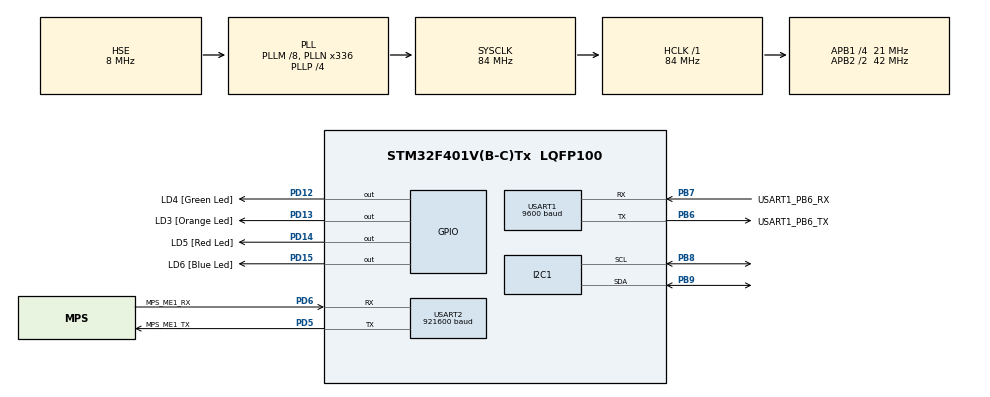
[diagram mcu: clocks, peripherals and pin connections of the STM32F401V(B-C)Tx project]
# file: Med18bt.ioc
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FREERTOS.Tasks01=bltTask,0,128,StartDefaultTask,Default,NULL,Dynamic,NULL,NULL
I2C1.I2C_Mode=I2C_Standard
Mcu.Family=STM32F4
Mcu.Name=STM32F401V(B-C)Tx
Mcu.Package=LQFP100
NVIC.PriorityGroup=NVIC_PRIORITYGROUP_4
NVIC.RCC_IRQn=true\:5\:0\:false\:false\:true\:true\:true
NVIC.TIM1_UP_TIM10_IRQn=true\:0\:0\:false\:false\:true\:false\:false
NVIC.TimeBase=TIM1_UP_TIM10_IRQn
NVIC.TimeBaseIP=TIM1
NVIC.USART1_IRQn=true\:5\:0\:false\:false\:true\:true\:true
NVIC.USART2_IRQn=true\:5\:0\:false\:false\:true\:true\:true
PB6.GPIO_Label=USART1_PB6_TX
PB6.GPIO_Speed=GPIO_SPEED_FREQ_VERY_HIGH
PB6.Mode=Asynchronous
PB6.Signal=USART1_TX
PB7.GPIO_Label=USART1_PB6_RX
PB7.GPIO_Speed=GPIO_SPEED_FREQ_VERY_HIGH
PB7.Mode=Asynchronous
PB7.Signal=USART1_RX
PB8.GPIO_PuPdOD=GPIO_PULLUP
PB8.Mode=I2C
PB8.Signal=I2C1_SCL
PB9.GPIO_PuPdOD=GPIO_PULLUP
PB9.Mode=I2C
PB9.Signal=I2C1_SDA
PD12.GPIO_Label=LD4 [Green Led]
PD12.GPIO_PuPd=GPIO_NOPULL
PD12.GPIO_Speed=GPIO_SPEED_FREQ_LOW
PD12.Signal=GPIO_Output
PD13.GPIO_Label=LD3 [Orange Led]
PD13.GPIO_PuPd=GPIO_NOPULL
PD13.GPIO_Speed=GPIO_SPEED_FREQ_LOW
PD13.Signal=GPIO_Output
PD14.GPIO_Label=LD5 [Red Led]
PD14.GPIO_PuPd=GPIO_NOPULL
PD14.GPIO_Speed=GPIO_SPEED_FREQ_LOW
PD14.Signal=GPIO_Output
PD15.GPIO_Label=LD6 [Blue Led]
PD15.GPIO_PuPd=GPIO_NOPULL
PD15.GPIO_Speed=GPIO_SPEED_FREQ_LOW
PD15.Signal=GPIO_Output
PD5.GPIO_Label=MPS_ME1_TX
PD5.GPIO_Speed=GPIO_SPEED_FREQ_VERY_HIGH
PD5.Mode=Asynchronous
PD5.Signal=USART2_TX
PD6.GPIO_Label=MPS_ME1_RX
PD6.Mode=Asynchronous
PD6.Signal=USART2_RX
PH0\ -\ OSC_IN.Mode=HSE-External-Oscillator
PH0\ -\ OSC_IN.Signal=RCC_OSC_IN
PH1\ -\ OSC_OUT.Mode=HSE-External-Oscillator
PH1\ -\ OSC_OUT.Signal=RCC_OSC_OUT
ProjectManager.HeapSize=0x400
ProjectManager.StackSize=0x800
ProjectManager.TargetToolchain=MDK-ARM V5
RCC.48MHZClocksFreq_Value=48000000
RCC.AHBFreq_Value=84000000
RCC.APB1CLKDivider=RCC_HCLK_DIV4
RCC.APB1Freq_Value=21000000
RCC.APB1TimFreq_Value=42000000
RCC.APB2CLKDivider=RCC_HCLK_DIV2
RCC.APB2Freq_Value=42000000
RCC.APB2TimFreq_Value=84000000
RCC.CortexFreq_Value=84000000
RCC.HCLKFreq_Value=84000000
RCC.HSE_VALUE=8000000
RCC.HSI_VALUE=16000000
RCC.LSE_VALUE=32768
RCC.PLLM=8
RCC.PLLN=336
RCC.PLLP=RCC_PLLP_DIV4
RCC.PLLQ=7
RCC.PLLSourceVirtual=RCC_PLLSOURCE_HSE
RCC.SYSCLKFreq_VALUE=84000000
RCC.SYSCLKSource=RCC_SYSCLKSOURCE_PLLCLK
RCC.VCOOutputFreq_Value=336000000
USART1.BaudRate=9600
USART1.VirtualMode=VM_ASYNC
USART2.BaudRate=921600
USART2.VirtualMode=VM_ASYNC
VP_FREERTOS_VS_ENABLE.Mode=Enabled
VP_SYS_VS_tim1.Mode=TIM1
board=STM32F401C-DISCO

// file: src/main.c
/**
  ******************************************************************************
  * @file           : main.c
  * @brief          : Main program body
  ******************************************************************************
  * This notice applies to any and all portions of this file
  * that are not between comment pairs USER CODE BEGIN and
  * USER CODE END. Other portions of this file, whether
  * inserted by the user or by software development tools
  * are owned by their respective copyright owners.
  *
  * Copyright (c) 2018 STMicroelectronics International N.V.
  * All rights reserved.
  *
  * Redistribution and use in source and binary forms, with or without
  * modification, are permitted, provided that the following conditions are met:
  *
  * 1. Redistribution of source code must retain the above copyright notice,
  *    this list of conditions and the following disclaimer.
  * 2. Redistributions in binary form must reproduce the above copyright notice,
  *    this list of conditions and the following disclaimer in the documentation
  *    and/or other materials provided with the distribution.
  * 3. Neither the name of STMicroelectronics nor the names of other
  *    contributors to this software may be used to endorse or promote products
  *    derived from this software without specific written permission.
  * 4. This software, including modifications and/or derivative works of this
  *    software, must execute solely and exclusively on microcontroller or
  *    microprocessor devices manufactured by or for STMicroelectronics.
  * 5. Redistribution and use of this software other than as permitted under
  *    this license is void and will automatically terminate your rights under
  *    this license.
  *
  * THIS SOFTWARE IS PROVIDED BY STMICROELECTRONICS AND CONTRIBUTORS "AS IS"
  * AND ANY EXPRESS, IMPLIED OR STATUTORY WARRANTIES, INCLUDING, BUT NOT
  * LIMITED TO, THE IMPLIED WARRANTIES OF MERCHANTABILITY, FITNESS FOR A
  * PARTICULAR PURPOSE AND NON-INFRINGEMENT OF THIRD PARTY INTELLECTUAL PROPERTY
  * RIGHTS ARE DISCLAIMED TO THE FULLEST EXTENT PERMITTED BY LAW. IN NO EVENT
  * SHALL STMICROELECTRONICS OR CONTRIBUTORS BE LIABLE FOR ANY DIRECT, INDIRECT,
  * INCIDENTAL, SPECIAL, EXEMPLARY, OR CONSEQUENTIAL DAMAGES (INCLUDING, BUT NOT
  * LIMITED TO, PROCUREMENT OF SUBSTITUTE GOODS OR SERVICES; LOSS OF USE, DATA,
  * OR PROFITS; OR BUSINESS INTERRUPTION) HOWEVER CAUSED AND ON ANY THEORY OF
  * LIABILITY, WHETHER IN CONTRACT, STRICT LIABILITY, OR TORT (INCLUDING
  * NEGLIGENCE OR OTHERWISE) ARISING IN ANY WAY OUT OF THE USE OF THIS SOFTWARE,
  * EVEN IF ADVISED OF THE POSSIBILITY OF SUCH DAMAGE.
  *
  ******************************************************************************
  */
#include "main.h"
#include "stm32f4xx_hal.h"
#include "cmsis_os.h"

/* USER CODE BEGIN Includes */
#include "string.h"
#include "discovery.h"
#include "mpu.h"
//#include "lpms-me1.h"
#include "ahrs.h"
/* USER CODE END Includes */

I2C_HandleTypeDef hi2c1;

UART_HandleTypeDef huart1;
UART_HandleTypeDef huart2;

osThreadId bltTaskHandle;

/* USER CODE BEGIN PV */
/* Private variables ---------------------------------------------------------*/
#define UART_PACKET_OK 0
#define UART_PACKET_TOO_LONG 1
#define UART_PACKET_CORRUPT 2
#define UART_BUSY_FLAG 1

volatile uint8_t mUartTxBusyFlag = 0;

#define UART_TX_MAXBUF_SZ 64
#define UART_RX_MAXBUF_SZ 64

char mUartRxString[UART_RX_MAXBUF_SZ];

uint8_t mUartRxBuffer = '\000';
uint8_t mUartNewMessage = 0;

char mUartTxbuffer[UART_TX_MAXBUF_SZ+1];
int mUartTxBufSz;

/* USER CODE END PV */

void SystemClock_Config(void);
static void MX_GPIO_Init(void);
static void MX_USART1_UART_Init(void);
static void MX_USART2_UART_Init(void);
static void MX_I2C1_Init(void);
void StartDefaultTask(void const * argument);

/* USER CODE BEGIN PFP */
/* Private function prototypes -----------------------------------------------*/
/* USER CODE END PFP */

int main(void)
{

  /* MCU Configuration----------------------------------------------------------*/

  /* Reset of all peripherals, Initializes the Flash interface and the Systick. */
  HAL_Init();

  /* Configure the system clock */
  SystemClock_Config();

  /* Initialize all configured peripherals */
  MX_GPIO_Init();
  MX_USART1_UART_Init();
  MX_USART2_UART_Init();
  MX_I2C1_Init();
  /* USER CODE BEGIN 2 */

	printf("DEBUG: Application started\r\n");

//	LPMS_ME1_Init( &hi2c1 );

	BSP_LED_Init(LED3);
	BSP_LED_Init(LED4);
	BSP_LED_Init(LED5);
	BSP_LED_Init(LED6);
  /* USER CODE END 2 */

  /* Create the thread(s) */
  /* definition and creation of bltTask */
  osThreadDef(bltTask, StartDefaultTask, osPriorityNormal, 0, 128);
  bltTaskHandle = osThreadCreate(osThread(bltTask), NULL);

  /* Start scheduler */
  osKernelStart();

  /* We should never get here as control is now taken by the scheduler */

  /* Infinite loop */
  while (1)
  {

  }

}

void SystemClock_Config(void)
{

  RCC_OscInitTypeDef RCC_OscInitStruct;
  RCC_ClkInitTypeDef RCC_ClkInitStruct;

    /**Configure the main internal regulator output voltage
    */
  __HAL_RCC_PWR_CLK_ENABLE();

  __HAL_PWR_VOLTAGESCALING_CONFIG(PWR_REGULATOR_VOLTAGE_SCALE2);

    /**Initializes the CPU, AHB and APB busses clocks
    */
  RCC_OscInitStruct.OscillatorType = RCC_OSCILLATORTYPE_HSE;
  RCC_OscInitStruct.HSEState = RCC_HSE_ON;
  RCC_OscInitStruct.PLL.PLLState = RCC_PLL_ON;
  RCC_OscInitStruct.PLL.PLLSource = RCC_PLLSOURCE_HSE;
  RCC_OscInitStruct.PLL.PLLM = 8;
  RCC_OscInitStruct.PLL.PLLN = 336;
  RCC_OscInitStruct.PLL.PLLP = RCC_PLLP_DIV4;
  RCC_OscInitStruct.PLL.PLLQ = 7;
  if (HAL_RCC_OscConfig(&RCC_OscInitStruct) != HAL_OK)
  {
    _Error_Handler(__FILE__, __LINE__);
  }

    /**Initializes the CPU, AHB and APB busses clocks
    */
  RCC_ClkInitStruct.ClockType = RCC_CLOCKTYPE_HCLK|RCC_CLOCKTYPE_SYSCLK
                              |RCC_CLOCKTYPE_PCLK1|RCC_CLOCKTYPE_PCLK2;
  RCC_ClkInitStruct.SYSCLKSource = RCC_SYSCLKSOURCE_PLLCLK;
  RCC_ClkInitStruct.AHBCLKDivider = RCC_SYSCLK_DIV1;
  RCC_ClkInitStruct.APB1CLKDivider = RCC_HCLK_DIV4;
  RCC_ClkInitStruct.APB2CLKDivider = RCC_HCLK_DIV2;

  if (HAL_RCC_ClockConfig(&RCC_ClkInitStruct, FLASH_LATENCY_2) != HAL_OK)
  {
    _Error_Handler(__FILE__, __LINE__);
  }

    /**Configure the Systick interrupt time
    */
  HAL_SYSTICK_Config(HAL_RCC_GetHCLKFreq()/1000);

    /**Configure the Systick
    */
  HAL_SYSTICK_CLKSourceConfig(SYSTICK_CLKSOURCE_HCLK);

  /* SysTick_IRQn interrupt configuration */
  HAL_NVIC_SetPriority(SysTick_IRQn, 15, 0);
}

/* I2C1 init function */
static void MX_I2C1_Init(void)
{

  hi2c1.Instance = I2C1;
  hi2c1.Init.ClockSpeed = 100000;
  hi2c1.Init.DutyCycle = I2C_DUTYCYCLE_2;
  hi2c1.Init.OwnAddress1 = 0;
  hi2c1.Init.AddressingMode = I2C_ADDRESSINGMODE_7BIT;
  hi2c1.Init.DualAddressMode = I2C_DUALADDRESS_DISABLE;
  hi2c1.Init.OwnAddress2 = 0;
  hi2c1.Init.GeneralCallMode = I2C_GENERALCALL_DISABLE;
  hi2c1.Init.NoStretchMode = I2C_NOSTRETCH_DISABLE;
  if (HAL_I2C_Init(&hi2c1) != HAL_OK)
  {
    _Error_Handler(__FILE__, __LINE__);
  }

}

/* USART1 init function */
static void MX_USART1_UART_Init(void)
{

  huart1.Instance = USART1;
  huart1.Init.BaudRate = 9600;
  huart1.Init.WordLength = UART_WORDLENGTH_8B;
  huart1.Init.StopBits = UART_STOPBITS_1;
  huart1.Init.Parity = UART_PARITY_NONE;
  huart1.Init.Mode = UART_MODE_TX_RX;
  huart1.Init.HwFlowCtl = UART_HWCONTROL_NONE;
  huart1.Init.OverSampling = UART_OVERSAMPLING_16;
  if (HAL_UART_Init(&huart1) != HAL_OK)
  {
    _Error_Handler(__FILE__, __LINE__);
  }

}

/* USART2 init function */
static void MX_USART2_UART_Init(void)
{

  huart2.Instance = USART2;
  huart2.Init.BaudRate = 921600;
  huart2.Init.WordLength = UART_WORDLENGTH_8B;
  huart2.Init.StopBits = UART_STOPBITS_1;
  huart2.Init.Parity = UART_PARITY_NONE;
  huart2.Init.Mode = UART_MODE_TX_RX;
  huart2.Init.HwFlowCtl = UART_HWCONTROL_NONE;
  huart2.Init.OverSampling = UART_OVERSAMPLING_16;
  if (HAL_UART_Init(&huart2) != HAL_OK)
  {
    _Error_Handler(__FILE__, __LINE__);
  }

}

/** Configure pins as
        * Analog
        * Input
        * Output
        * EVENT_OUT
        * EXTI
*/
static void MX_GPIO_Init(void)
{

  GPIO_InitTypeDef GPIO_InitStruct;

  /* GPIO Ports Clock Enable */
  __HAL_RCC_GPIOH_CLK_ENABLE();
  __HAL_RCC_GPIOD_CLK_ENABLE();
  __HAL_RCC_GPIOB_CLK_ENABLE();

  /*Configure GPIO pin Output Level */
  HAL_GPIO_WritePin(GPIOD, LD4_Pin|LD3_Pin|LD5_Pin|LD6_Pin, GPIO_PIN_RESET);

  /*Configure GPIO pins : LD4_Pin LD3_Pin LD5_Pin LD6_Pin */
  GPIO_InitStruct.Pin = LD4_Pin|LD3_Pin|LD5_Pin|LD6_Pin;
  GPIO_InitStruct.Mode = GPIO_MODE_OUTPUT_PP;
  GPIO_InitStruct.Pull = GPIO_NOPULL;
  GPIO_InitStruct.Speed = GPIO_SPEED_FREQ_LOW;
  HAL_GPIO_Init(GPIOD, &GPIO_InitStruct);

}

/* USER CODE BEGIN 4 */

/*** ================================================================================================ ***/
/*** ==== BLUETOOTH ================================================================================= ***/
/*** ================================================================================================ ***/

HAL_StatusTypeDef UART_WaitIfBusy() {
	for (int i = 0; mUartTxBusyFlag && i < 100; i++)
		HAL_Delay(1);

	if (mUartTxBusyFlag)
		return HAL_ERROR;

	mUartTxBusyFlag  = 1;

	return HAL_OK;
}

void UART_Send (const char message[])
{
	if (UART_WaitIfBusy() != HAL_OK)
		return;

	mUartTxBufSz = strlen(message);
	if (mUartTxBufSz > UART_TX_MAXBUF_SZ)
		mUartTxBufSz = UART_TX_MAXBUF_SZ-1;

	strncpy(mUartTxbuffer, message, mUartTxBufSz);

	if (strlen(message) > UART_TX_MAXBUF_SZ) {
		mUartTxbuffer[UART_TX_MAXBUF_SZ-2] = '\r';
		mUartTxbuffer[UART_TX_MAXBUF_SZ-1] = '\n';
		mUartTxbuffer[UART_TX_MAXBUF_SZ] = '\0';
	}

	HAL_UART_Transmit_IT(&huart1, (uint8_t*)mUartTxbuffer, mUartTxBufSz);
}

void UART_SendChar( const int ch ) {
	if (UART_WaitIfBusy() != HAL_OK)
		return;

	mUartTxBufSz = 1;
	mUartTxbuffer[0] = (char) ch;

	HAL_UART_Transmit_IT(&huart1, (uint8_t*)mUartTxbuffer, mUartTxBufSz);
}

void UART_CommandProcessor (void)
{
	printf("DEBUG: CMD received: '%s'\r\n", mUartRxString);
}

void HAL_UART_ErrorCallback(UART_HandleTypeDef *huart) {
//	for(int i = 0; i < 10; i++) {
//		BSP_LED_Toggle(LED3);
//		BSP_LED_Toggle(LED4);
//		BSP_LED_Toggle(LED5);
//		BSP_LED_Toggle(LED6);
//		HAL_Delay(100);
//	}
}

void HAL_UART_TxCpltCallback(UART_HandleTypeDef *huart1)
{
	mUartTxBusyFlag  = 0;
	// BSP_LED_Toggle(LED4);
}

void HAL_UART_RxCpltCallback(UART_HandleTypeDef *huart)
{
	static short int tUartRxIndex = 0;
	static uint8_t tUartErrorFlag = UART_PACKET_OK;

	// if(UartHandle->Instance==USART1){
//	BSP_LED_Toggle(LED4);
//	BSP_LED_Toggle(LED6);

	if (mUartRxBuffer == '\n') // If Enter
	{
		if (tUartRxIndex && tUartErrorFlag == UART_PACKET_OK)
		{
			mUartRxString[tUartRxIndex] = '\000';
			tUartRxIndex = 0;
			mUartNewMessage  = 1;

		} else {
			// UART_Send("ERROR: UART1 packet too long\r\n");
			tUartErrorFlag = UART_PACKET_OK; // reset error state
		}

	} else {

		if (mUartRxBuffer != '\r' && tUartErrorFlag == UART_PACKET_OK) // Ignore return
		{
			mUartRxString[tUartRxIndex] = mUartRxBuffer; // Add that character to the string
			tUartRxIndex++;

			if (tUartRxIndex >= UART_RX_MAXBUF_SZ) // User typing too much, we can't have commands that big
			{
				tUartErrorFlag = UART_PACKET_TOO_LONG;
				tUartRxIndex = 0;
				mUartRxString[tUartRxIndex] = '\000';
			}
		}
	}

	HAL_UART_Receive_IT(&huart1, &mUartRxBuffer, 1);
}

/*** ================================================================================================ ***/
/*** ==== I2C ======================================================================================= ***/
/*** ================================================================================================ ***/

/********************************************************************************************************/

/* USER CODE END 4 */

/* StartDefaultTask function */
void StartDefaultTask(void const * argument)
{

  /* USER CODE BEGIN 5 */
	float accel_data[3];
	float gyro_data[3];
	float magn_data[3];
	float temp_data;
	AHRS_t m_AHRS;

	uint8_t mpu_init_required = 1;
	uint32_t m_started_ts = 0, m_reporter_ts = 0, m_data_counter = 0;

	AHRS_Init(&m_AHRS, 40, 0.5, 1);

	HAL_UART_Receive_IT(&huart1, &mUartRxBuffer, 1);

  /* Infinite loop */
  for(;;)
  {
		BSP_LED_Toggle(LED3);

		if (mpu_init_required) {

			// hard_reset_required
			if (MPU_Init( &hi2c1, (mpu_init_required > 1 ? 1 : 0) ) != HAL_OK) {
				printf("ERROR: can't init MPU\r\n");
				HAL_Delay(500);

				mpu_init_required = 2; // hard reset required
				continue;
			}

			mpu_init_required = 0;
			m_started_ts = HAL_GetTick();
			m_reporter_ts = 0;
			m_data_counter = 0;
		}

		if(mUartNewMessage)
		{
//			UART_CommandProcessor();
//			mUartNewMessage  = 0;
		}

/*		// reset FIFO
		if (MPU_ResetFifo( &hi2c1 ) != HAL_OK) {
			// MPU reset required
			mpu_init_required = 1;
			continue;
		}
*/

/*
		if (MPU_GetFifoFrameData( &hi2c1, accel_data, gyro_data, magn_data, &temp_data ) != HAL_OK) {
			// MPU reset required
			mpu_init_required = 1;
			continue;
		}
*/
		if (MPU_GetData( &hi2c1, accel_data, gyro_data, magn_data, &temp_data ) != HAL_OK) {
			// MPU reset required
			mpu_init_required = 1;
			continue;
		}
		m_data_counter++;
/*
		AHRS_UpdateIMU(&m_AHRS,
			accel_data[0], accel_data[1], accel_data[2],
			AHRS_DEG2RAD(gyro_data[0]), AHRS_DEG2RAD(gyro_data[1]), AHRS_DEG2RAD(gyro_data[2]));
		*/

		AHRS_UpdateAHRS(&m_AHRS,
			accel_data[0], accel_data[1], accel_data[2],
			AHRS_DEG2RAD(gyro_data[0]), AHRS_DEG2RAD(gyro_data[1]), AHRS_DEG2RAD(gyro_data[2]),
			magn_data[0], magn_data[1], magn_data[2]);

		if (HAL_GetTick() - m_reporter_ts > 1000) {
			m_reporter_ts = HAL_GetTick();

			//printf("P=%0.02f R=%0.02f Y=%0.02f\r\n", m_AHRS.Pitch, m_AHRS.Roll, m_AHRS.Yaw);

			printf("A: %02.02f %02.02f %02.2f mg\r\n", accel_data[0], accel_data[1], accel_data[2]);
			printf("G: %02.02f %02.02f %02.2f deg/s\r\n", gyro_data[0], gyro_data[1], gyro_data[2]);
			printf("M: %0.02f %0.02f %0.2f mG\r\n", magn_data[0], magn_data[1], magn_data[2]);

			//float temp = MPU_get_temp( &hi2c1 );
			//printf("T %0.02f\r\n", temp_data);

			//printf("FREQ=%02.02f\r\n", (float)m_data_counter * 1000.0f / (HAL_GetTick() - m_started_ts));
		}

    osDelay(20);
  }
  /* USER CODE END 5 */
}

void HAL_TIM_PeriodElapsedCallback(TIM_HandleTypeDef *htim)
{
  if (htim->Instance == TIM1) {
    HAL_IncTick();
  }
}

void _Error_Handler(char *file, int line)
{
  while(1)
  {
  }
}

/************************ (C) COPYRIGHT STMicroelectronics *****END OF FILE****/
